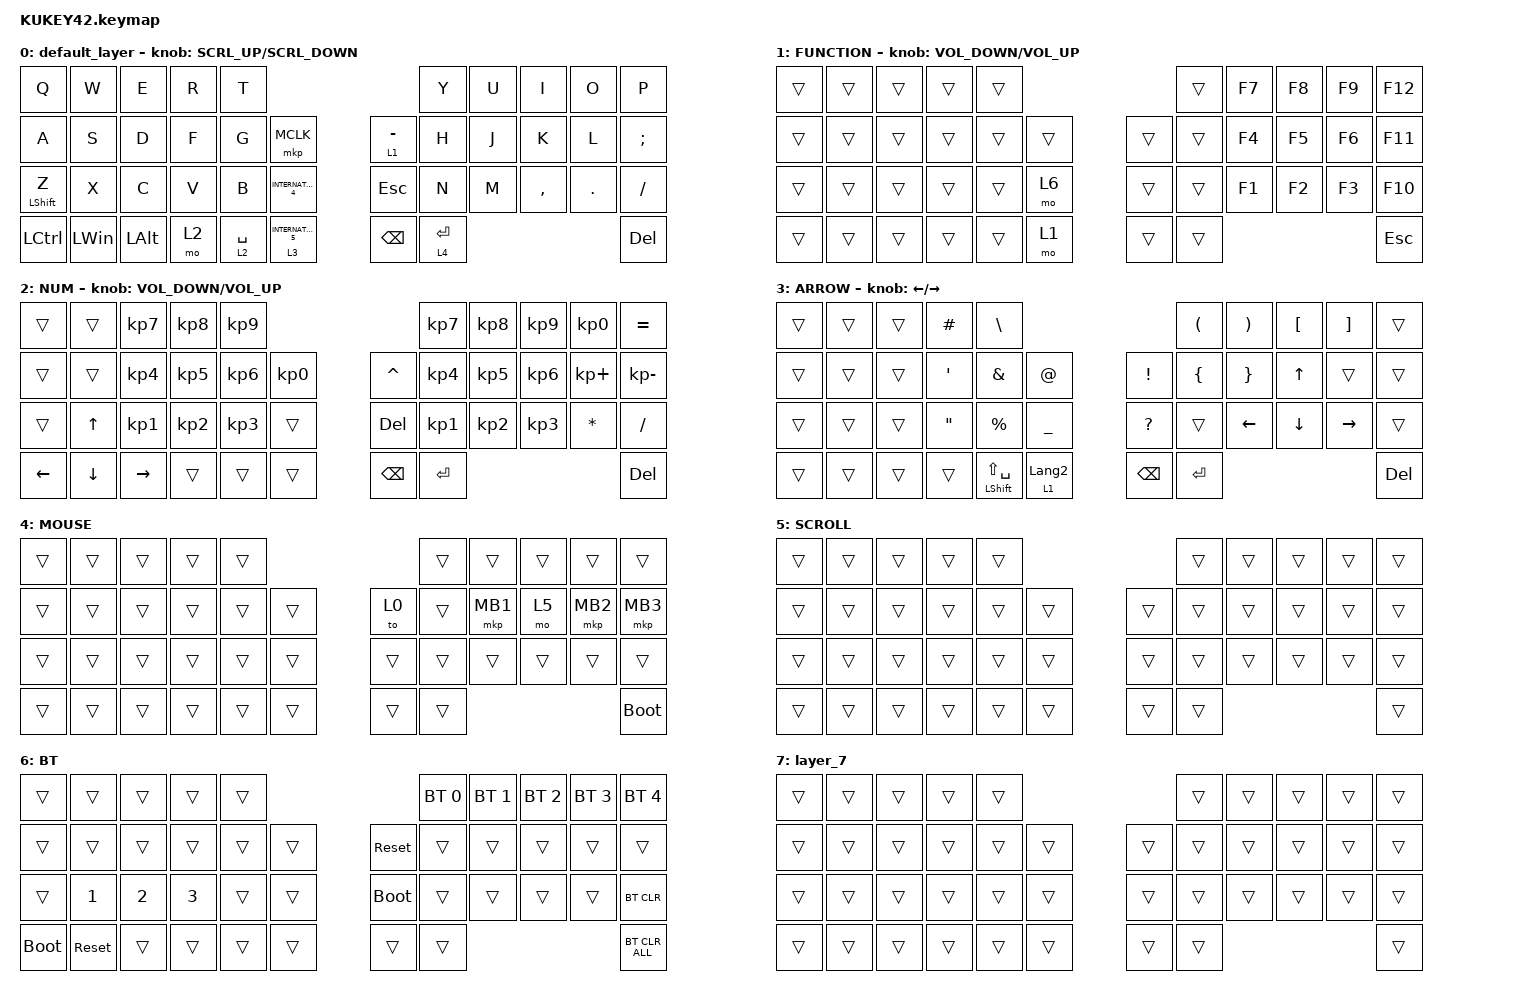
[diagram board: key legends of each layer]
#define ZMK_POINTING_DEFAULT_SCRL_VAL 80

#include <behaviors.dtsi>
#include <dt-bindings/zmk/bt.h>
#include <dt-bindings/zmk/keys.h>
#include <dt-bindings/zmk/pointing.h>

#define MOUSE 4
#define SCROLL 5
#define NUM 6

&mt {
    flavor = "balanced";
    quick-tap-ms = <0>;
};

/ {
    combos {
        compatible = "zmk,combos";

        tab {
            bindings = <&kp TAB>;
            key-positions = <11 10>;
        };

        esc {
            bindings = <&kp ESCAPE>;
            key-positions = <0 1>;
        };
    };

    macros {
        to_layer_0: to_layer_0 {
            compatible = "zmk,behavior-macro-one-param";
            #binding-cells = <1>;
            bindings = <&to 0 &macro_param_1to1 &kp MACRO_PLACEHOLDER>;
            label = "TO_LAYER_0";
        };
    };

    behaviors {
        lt_to_layer_0: lt_to_layer_0 {
            compatible = "zmk,behavior-hold-tap";
            label = "LAYER_TAP_TO_0";
            bindings = <&mo>, <&to_layer_0>;

            #binding-cells = <2>;
            tapping-term-ms = <200>;
        };

        tapdance_kana: tapdance_kana {
            compatible = "zmk,behavior-tap-dance";
            label = "TAPDANCE_KANA";
            #binding-cells = <0>;
            bindings = <&kp INT2>, <&kp LANGUAGE_2>, <&sl 1>;

            tapping-term-ms = <400>;
        };

        WheelScroll: WheelScroll {
            compatible = "zmk,behavior-sensor-rotate-var";
            label = "WHEELSCROLL";
            #sensor-binding-cells = <2>;
            bindings = <&msc>, <&msc>;

            tap-ms = <20>;
        };
    };

    keymap {
        compatible = "zmk,keymap";

        default_layer {
            bindings = <
&kp Q             &kp W         &kp E     &kp R  &kp T                                                  &kp Y        &kp U  &kp I      &kp O    &kp P
&kp A             &kp S         &kp D     &kp F  &kp G        &mkp MCLK                  &lt 1 MINUS    &kp H        &kp J  &kp K      &kp L    &kp SEMI
&mt LEFT_SHIFT Z  &kp X         &kp C     &kp V  &kp B        &kp INTERNATIONAL_4        &kp ESCAPE     &kp N        &kp M  &kp COMMA  &kp DOT  &kp SLASH
&kp LCTRL         &kp LEFT_WIN  &kp LALT  &mo 2  &lt 2 SPACE  &lt 3 INTERNATIONAL_5      &kp BACKSPACE  &lt 4 ENTER                             &kp DELETE
            >;

            sensor-bindings = <&WheelScroll SCRL_UP SCRL_DOWN>;
        };

        FUNCTION {
            bindings = <
&trans  &trans  &trans  &trans  &trans                      &trans  &kp F7  &kp F8  &kp F9  &kp F12
&trans  &trans  &trans  &trans  &trans  &trans      &trans  &trans  &kp F4  &kp F5  &kp F6  &kp F11
&trans  &trans  &trans  &trans  &trans  &mo 6       &trans  &trans  &kp F1  &kp F2  &kp F3  &kp F10
&trans  &trans  &trans  &trans  &trans  &mo 1       &trans  &trans                          &kp ESCAPE
            >;

            sensor-bindings = <&inc_dec_kp C_VOLUME_DOWN C_VOLUME_UP>;
        };

        NUM {
            bindings = <
&trans    &trans    &kp KP_NUMBER_7  &kp KP_NUMBER_8  &kp KP_NUMBER_9                                      &kp KP_NUMBER_7  &kp KP_NUMBER_8  &kp KP_NUMBER_9  &kp KP_NUMBER_0  &kp EQUAL
&trans    &trans    &kp KP_NUMBER_4  &kp KP_NUMBER_5  &kp KP_NUMBER_6  &kp KP_NUMBER_0      &kp CARET      &kp KP_NUMBER_4  &kp KP_NUMBER_5  &kp KP_NUMBER_6  &kp KP_PLUS      &kp KP_MINUS
&trans    &kp UP    &kp KP_NUMBER_1  &kp KP_NUMBER_2  &kp KP_NUMBER_3  &trans               &kp DELETE     &kp KP_NUMBER_1  &kp KP_NUMBER_2  &kp KP_NUMBER_3  &kp ASTRK        &kp SLASH
&kp LEFT  &kp DOWN  &kp RIGHT        &trans           &trans           &trans               &kp BACKSPACE  &kp ENTER                                                           &kp DEL
            >;

            sensor-bindings = <&inc_dec_kp C_VOLUME_DOWN C_VOLUME_UP>;
        };

        ARROW {
            bindings = <
&trans  &trans  &trans  &kp HASH           &kp BACKSLASH                                                  &kp LEFT_PARENTHESIS  &kp RIGHT_PARENTHESIS  &kp LEFT_BRACKET  &kp RIGHT_BRACKET  &trans
&trans  &trans  &trans  &kp SINGLE_QUOTE   &kp AMPERSAND             &kp AT_SIGN           &kp EXCL       &kp LEFT_BRACE        &kp RIGHT_BRACE        &kp UP_ARROW      &trans             &trans
&trans  &trans  &trans  &kp DOUBLE_QUOTES  &kp PERCENT               &kp UNDER             &kp QUESTION   &trans                &kp LEFT_ARROW         &kp DOWN_ARROW    &kp RIGHT_ARROW    &trans
&trans  &trans  &trans  &trans             &mt LEFT_SHIFT LS(SPACE)  &lt 1 LANGUAGE_2      &kp BACKSPACE  &kp ENTER                                                                         &kp DELETE
            >;

            sensor-bindings = <&inc_dec_kp LEFT RIGHT>;
        };

        MOUSE {
            bindings = <
&trans  &trans  &trans  &trans  &trans                      &trans  &trans    &trans  &trans    &trans
&trans  &trans  &trans  &trans  &trans  &trans      &to 0   &trans  &mkp MB1  &mo 5   &mkp MB2  &mkp MB3
&trans  &trans  &trans  &trans  &trans  &trans      &trans  &trans  &trans    &trans  &trans    &trans
&trans  &trans  &trans  &trans  &trans  &trans      &trans  &trans                              &bootloader
            >;
        };

        SCROLL {
            bindings = <
&trans  &trans  &trans  &trans  &trans                      &trans  &trans  &trans  &trans  &trans
&trans  &trans  &trans  &trans  &trans  &trans      &trans  &trans  &trans  &trans  &trans  &trans
&trans  &trans  &trans  &trans  &trans  &trans      &trans  &trans  &trans  &trans  &trans  &trans
&trans  &trans  &trans  &trans  &trans  &trans      &trans  &trans                          &trans
            >;
        };

        BT {
            bindings = <
&trans       &trans        &trans        &trans        &trans                           &bt BT_SEL 0  &bt BT_SEL 1  &bt BT_SEL 2  &bt BT_SEL 3  &bt BT_SEL 4
&trans       &trans        &trans        &trans        &trans  &trans      &sys_reset   &trans        &trans        &trans        &trans        &trans
&trans       &kp NUMBER_1  &kp NUMBER_2  &kp NUMBER_3  &trans  &trans      &bootloader  &trans        &trans        &trans        &trans        &bt BT_CLR
&bootloader  &sys_reset    &trans        &trans        &trans  &trans      &trans       &trans                                                  &bt BT_CLR_ALL
            >;
        };

        layer_7 {
            bindings = <
&trans  &trans  &trans  &trans  &trans                      &trans  &trans  &trans  &trans  &trans
&trans  &trans  &trans  &trans  &trans  &trans      &trans  &trans  &trans  &trans  &trans  &trans
&trans  &trans  &trans  &trans  &trans  &trans      &trans  &trans  &trans  &trans  &trans  &trans
&trans  &trans  &trans  &trans  &trans  &trans      &trans  &trans                          &trans
            >;
        };
    };
};
